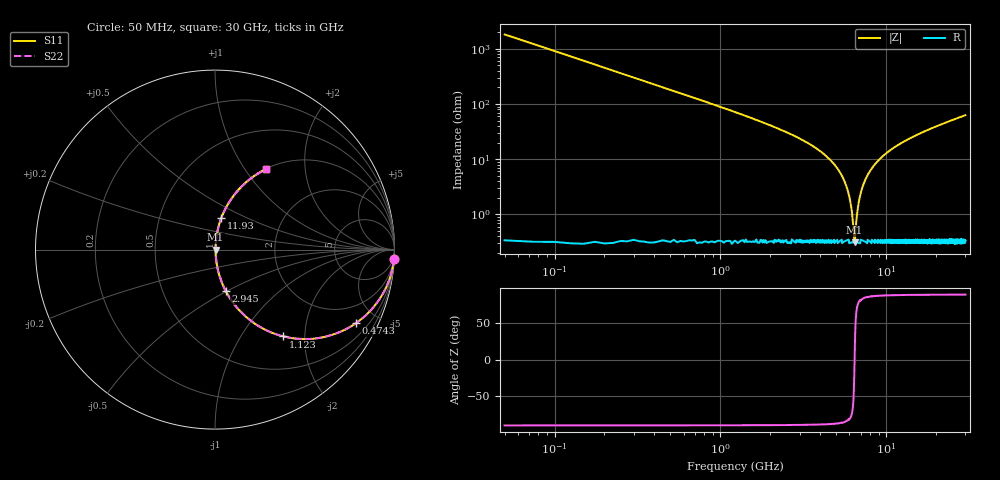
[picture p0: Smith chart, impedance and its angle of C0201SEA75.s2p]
!	AVX Thin Film Operation 	Date: April 2014
!	Description: Accu-P® Series, Thin Film  SMD RF Capacitor
!	Part Number: 02013JA75PBSTR
# MHZ S MA R 50
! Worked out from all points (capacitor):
!   1201 points, 50 MHz to 30 GHz, reference 50 ohm
!   read as one part in series: C = 1.75 pF near 199.8 MHz
!   lowest |Z| = 314 mohm at 6.439 GHz (marker M1)
!   series resonance near 6.442 GHz, so ESL is about 350 pH
!   S11 on the Smith chart (normalised r, x): 50 MHz: 1, -36; 474.3 MHz: 1.01, -3.81; 1.123 GHz: 1.01, -1.57; 2.945 GHz: 1.01, -0.49; 11.93 GHz: 1.01, +0.37; 30 GHz: 1.01, +1.25
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50  0.998 -3.1  0.055 86.8  0.055 86.8  0.998 -3.1
274.625  0.957 -16.8  0.289 73.1  0.289 73.1  0.957 -16.8
474.292  0.885 -27.6  0.464 62.3  0.464 62.3  0.885 -27.6
1123.208  0.616 -51.7  0.785 38.0  0.785 38.0  0.616 -51.7
1847  0.411 -65.3  0.909 24.2  0.909 24.2  0.411 -65.3
2945.167  0.237 -75.6  0.968 13.7  0.968 13.7  0.237 -75.6
5041.667  0.07 -83.3  0.994 4.0  0.994 4.0  0.07 -83.3
5865.292  0.027 -81.5  0.996 1.5  0.996 1.5  0.027 -81.5
6089.917  0.016 -77.5  0.997 0.9  0.997 0.9  0.016 -77.5
6339.5  0.005561 -54.0  0.997 0.3  0.997 0.3  0.005561 -54.0
6439.333  0.003252 -2.0  0.997 0.0  0.997 0.0  0.003252 -2.0
6539.167  0.005322 52.1  0.997 -0.2  0.997 -0.2  0.005322 52.1
6738.833  0.013 74.9  0.997 -0.7  0.997 -0.7  0.013 74.9
6913.542  0.02 79.6  0.997 -1.1  0.997 -1.1  0.02 79.6
7462.625  0.042 83.1  0.996 -2.4  0.996 -2.4  0.042 83.1
8485.917  0.078 83.1  0.994 -4.5  0.994 -4.5  0.078 83.1
10058.29  0.129 81.2  0.988 -7.4  0.988 -7.4  0.129 81.2
11930.17  0.182 78.5  0.98 -10.5  0.98 -10.5  0.182 78.5
15025  0.259 74.3  0.963 -15.0  0.963 -15.0  0.259 74.3
20016.67  0.365 68.1  0.928 -21.4  0.928 -21.4  0.365 68.1
25033.29  0.455 62.6  0.888 -27.1  0.888 -27.1  0.455 62.6
30000  0.53 57.7  0.845 -32.0  0.845 -32.0  0.53 57.7
